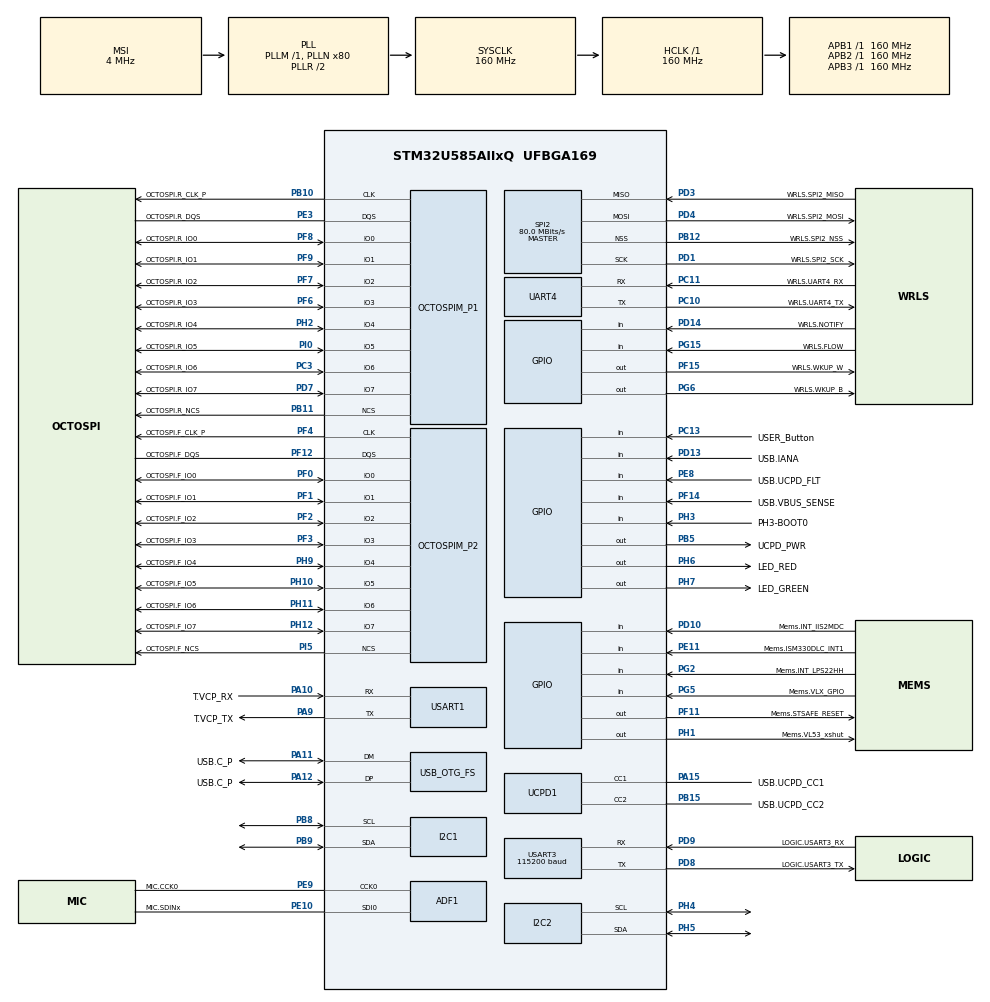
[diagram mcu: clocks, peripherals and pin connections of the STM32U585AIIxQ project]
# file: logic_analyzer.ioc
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CORTEX_M33_NS.userName=CORTEX_M33
I2C1.Timing=0x30909DEC
I2C2.Timing=0x30909DEC
Mcu.Family=STM32U5
Mcu.Name=STM32U585AIIxQ
Mcu.Package=UFBGA169
NVIC.PriorityGroup=NVIC_PRIORITYGROUP_4
OCTOSPI1.ChipSelectBoundary=10
OCTOSPI1.ClockPrescaler=2
OCTOSPI1.DelayBlockBypass=HAL_OSPI_DELAY_BLOCK_USED
OCTOSPI1.DelayHoldQuarterCycle=HAL_OSPI_DHQC_ENABLE
OCTOSPI1.DeviceSize=23
OCTOSPI1.MemoryType=HAL_OSPI_MEMTYPE_APMEMORY
OCTOSPI1.Refresh=100
OCTOSPI2.ChipSelectBoundary=0
OCTOSPI2.ChipSelectHighTime=2
OCTOSPI2.ClockPrescaler=4
OCTOSPI2.DelayBlockBypass=HAL_OSPI_DELAY_BLOCK_USED
OCTOSPI2.DelayHoldQuarterCycle=HAL_OSPI_DHQC_ENABLE
OCTOSPI2.DeviceSize=26
OCTOSPI2.FifoThreshold=4
OCTOSPI2.MemoryType=HAL_OSPI_MEMTYPE_MACRONIX
PA10.GPIO_Label=T.VCP_RX
PA10.Mode=Asynchronous
PA10.Signal=USART1_RX
PA11.GPIO_Label=USB.C_P
PA11.Mode=Device_Only
PA11.Signal=USB_OTG_FS_DM
PA12.GPIO_Label=USB.C_P
PA12.Mode=Device_Only
PA12.Signal=USB_OTG_FS_DP
PA13\ (JTMS/SWDIO).GPIO_Label=T.SWDIO
PA13\ (JTMS/SWDIO).Mode=Trace_Asynchronous_SW
PA13\ (JTMS/SWDIO).Signal=DEBUG_JTMS-SWDIO
PA14\ (JTCK/SWCLK).GPIO_Label=T.SWCLK
PA14\ (JTCK/SWCLK).Mode=Trace_Asynchronous_SW
PA14\ (JTCK/SWCLK).Signal=DEBUG_JTCK-SWCLK
PA15\ (JTDI).GPIO_Label=USB.UCPD_CC1
PA15\ (JTDI).Mode=Dual_Role_AllSignals
PA15\ (JTDI).Signal=UCPD1_CC1
PA9.GPIO_Label=T.VCP_TX
PA9.Mode=Asynchronous
PA9.Signal=USART1_TX
PB1.GPIO_Label=MIC.SDIN0
PB1.Signal=MDF1_SDI0
PB10.GPIO_Label=OCTOSPI.R_CLK_P
PB10.Mode=O1_P1_CLK
PB10.Signal=OCTOSPIM_P1_CLK
PB11.GPIO_Label=OCTOSPI.R_NCS
PB11.Mode=OCTOSPI1_Port1_NCS
PB11.Signal=OCTOSPIM_P1_NCS
PB12.GPIO_Label=WRLS.SPI2_NSS
PB12.Mode=NSS_Signal_Hard_Output
PB12.Signal=SPI2_NSS
PB15.GPIO_Label=USB.UCPD_CC2
PB15.Mode=Dual_Role_AllSignals
PB15.Signal=UCPD1_CC2
PB3\ (JTDO/TRACESWO).GPIO_Label=T.SWO
PB3\ (JTDO/TRACESWO).Mode=Trace_Asynchronous_SW
PB3\ (JTDO/TRACESWO).Signal=DEBUG_JTDO-SWO
PB5.GPIO_Label=UCPD_PWR
PB5.Signal=GPIO_Output
PB8.Mode=I2C
PB8.Signal=I2C1_SCL
PB9.Mode=I2C
PB9.Signal=I2C1_SDA
PC10.GPIO_Label=WRLS.UART4_TX
PC10.Mode=Asynchronous
PC10.Signal=UART4_TX
PC11.GPIO_Label=WRLS.UART4_RX
PC11.Mode=Asynchronous
PC11.Signal=UART4_RX
PD8.GPIO_Label=LOGIC.USART3_TX
PD8.Mode=Asynchronous
PD8.Signal=USART3_TX
PD9.GPIO_Label=LOGIC.USART3_RX
PD9.Mode=Asynchronous
PD9.Signal=USART3_RX
PC13.GPIO_Label=USER_Button
PC13.Signal=GPIO_Input
PC14-OSC32_IN\ (PC14).GPIO_Label=PC14-OSC32_IN
PC14-OSC32_IN\ (PC14).Mode=LSE-External-Oscillator
PC14-OSC32_IN\ (PC14).Signal=RCC_OSC32_IN
PC15-OSC32_OUT\ (PC15).GPIO_Label=PC15-OSC32_OUT
PC15-OSC32_OUT\ (PC15).Mode=LSE-External-Oscillator
PC15-OSC32_OUT\ (PC15).Signal=RCC_OSC32_OUT
PC3.GPIO_Label=OCTOSPI.R_IO6
PC3.Mode=OCTOSPI1_IOH_Port1H
PC3.Signal=OCTOSPIM_P1_IO6
PD1.GPIO_Label=WRLS.SPI2_SCK
PD1.Mode=Full_Duplex_Master
PD1.Signal=SPI2_SCK
PD10.GPIO_Label=Mems.INT_IIS2MDC
PD10.Signal=GPIO_Input
PD13.GPIO_Label=USB.IANA
PD13.Signal=GPIO_Input
PD14.GPIO_Label=WRLS.NOTIFY
PD14.Signal=GPIO_Input
PD3.GPIO_Label=WRLS.SPI2_MISO
PD3.Mode=Full_Duplex_Master
PD3.Signal=SPI2_MISO
PD4.GPIO_Label=WRLS.SPI2_MOSI
PD4.Mode=Full_Duplex_Master
PD4.Signal=SPI2_MOSI
PD7.GPIO_Label=OCTOSPI.R_IO7
PD7.Mode=OCTOSPI1_IOH_Port1H
PD7.Signal=OCTOSPIM_P1_IO7
PE10.GPIO_Label=MIC.SDINx
PE10.Mode=MOD_ADF_CCK
PE10.Signal=ADF1_SDI0
PE11.GPIO_Label=Mems.ISM330DLC_INT1
PE11.Signal=GPIO_Input
PE3.GPIO_Label=OCTOSPI.R_DQS
PE3.Mode=OCTOSPI1_Port1_DQS
PE3.Signal=OCTOSPIM_P1_DQS
PE8.GPIO_Label=USB.UCPD_FLT
PE8.Signal=GPIO_Input
PE9.GPIO_Label=MIC.CCK0
PE9.Mode=MOD_MDF_CCK0
PE9.Signal=ADF1_CCK0
PF0.GPIO_Label=OCTOSPI.F_IO0
PF0.Mode=OCTOSPI2_IOL_Port2L
PF0.Signal=OCTOSPIM_P2_IO0
PF1.GPIO_Label=OCTOSPI.F_IO1
PF1.Mode=OCTOSPI2_IOL_Port2L
PF1.Signal=OCTOSPIM_P2_IO1
PF10.GPIO_Label=MIC.CCK1
PF10.Signal=MDF1_CCK1
PF11.GPIO_Label=Mems.STSAFE_RESET
PF11.Signal=GPIO_Output
PF12.GPIO_Label=OCTOSPI.F_DQS
PF12.Mode=OCTOSPI2_Port2_DQS
PF12.Signal=OCTOSPIM_P2_DQS
PF14.GPIO_Label=USB.VBUS_SENSE
PF14.Signal=GPIO_Input
PF15.GPIO_Label=WRLS.WKUP_W
PF15.Signal=GPIO_Output
PF2.GPIO_Label=OCTOSPI.F_IO2
PF2.Mode=OCTOSPI2_IOL_Port2L
PF2.Signal=OCTOSPIM_P2_IO2
PF3.GPIO_Label=OCTOSPI.F_IO3
PF3.Mode=OCTOSPI2_IOL_Port2L
PF3.Signal=OCTOSPIM_P2_IO3
PF4.GPIO_Label=OCTOSPI.F_CLK_P
PF4.Mode=O2_P2_CLK
PF4.Signal=OCTOSPIM_P2_CLK
PF6.GPIO_Label=OCTOSPI.R_IO3
PF6.Mode=OCTOSPI1_IOL_Port1L
PF6.Signal=OCTOSPIM_P1_IO3
PF7.GPIO_Label=OCTOSPI.R_IO2
PF7.Mode=OCTOSPI1_IOL_Port1L
PF7.Signal=OCTOSPIM_P1_IO2
PF8.GPIO_Label=OCTOSPI.R_IO0
PF8.Mode=OCTOSPI1_IOL_Port1L
PF8.Signal=OCTOSPIM_P1_IO0
PF9.GPIO_Label=OCTOSPI.R_IO1
PF9.Mode=OCTOSPI1_IOL_Port1L
PF9.Signal=OCTOSPIM_P1_IO1
PG15.GPIO_Label=WRLS.FLOW
PG15.Signal=GPIO_Input
PG2.GPIO_Label=Mems.INT_LPS22HH
PG2.Signal=GPIO_Input
PG5.GPIO_Label=Mems.VLX_GPIO
PG5.Signal=GPIO_Input
PG6.GPIO_Label=WRLS.WKUP_B
PG6.Signal=GPIO_Output
PH1-OSC_OUT\ (PH1).GPIO_Label=Mems.VL53_xshut
PH1-OSC_OUT\ (PH1).Signal=GPIO_Output
PH10.GPIO_Label=OCTOSPI.F_IO5
PH10.Mode=OCTOSPI2_IOH_Port2H
PH10.Signal=OCTOSPIM_P2_IO5
PH11.GPIO_Label=OCTOSPI.F_IO6
PH11.Mode=OCTOSPI2_IOH_Port2H
PH11.Signal=OCTOSPIM_P2_IO6
PH12.GPIO_Label=OCTOSPI.F_IO7
PH12.Mode=OCTOSPI2_IOH_Port2H
PH12.Signal=OCTOSPIM_P2_IO7
PH2.GPIO_Label=OCTOSPI.R_IO4
PH2.Mode=OCTOSPI1_IOH_Port1H
PH2.Signal=OCTOSPIM_P1_IO4
PH3-BOOT0.GPIO_Label=PH3-BOOT0
PH3-BOOT0.Signal=GPIO_Input
PH4.Mode=I2C
PH4.Signal=I2C2_SCL
PH5.Mode=I2C
PH5.Signal=I2C2_SDA
PH6.GPIO_Label=LED_RED
PH6.Signal=GPIO_Output
PH7.GPIO_Label=LED_GREEN
PH7.Signal=GPIO_Output
PH9.GPIO_Label=OCTOSPI.F_IO4
PH9.Mode=OCTOSPI2_IOH_Port2H
PH9.Signal=OCTOSPIM_P2_IO4
PI0.GPIO_Label=OCTOSPI.R_IO5
PI0.Mode=OCTOSPI1_IOH_Port1H
PI0.Signal=OCTOSPIM_P1_IO5
PI5.GPIO_Label=OCTOSPI.F_NCS
PI5.Mode=OCTOSPI2_Port2_NCS
PI5.Signal=OCTOSPIM_P2_NCS
PWR.PowerMode=PWR_SMPS_SUPPLY
ProjectManager.HeapSize=0x200
ProjectManager.StackSize=0x400
ProjectManager.TargetToolchain=STM32CubeIDE
RCC.ADCFreq_Value=16000000
RCC.AHBFreq_Value=160000000
RCC.APB1Freq_Value=160000000
RCC.APB1TimFreq_Value=160000000
RCC.APB2Freq_Value=160000000
RCC.APB2TimFreq_Value=160000000
RCC.APB3Freq_Value=160000000
RCC.CortexFreq_Value=160000000
RCC.DACCLockSelectionVirtual=RCC_DAC1CLKSOURCE_LSI
RCC.EPOD_VALUE=4000000
RCC.HCLKFreq_Value=160000000
RCC.HSE_VALUE=16000000
RCC.HSI48_VALUE=48000000
RCC.HSI_VALUE=16000000
RCC.LSIDIV_VALUE=32000
RCC.MSI_VALUE=4000000
RCC.PLLN=80
RCC.SYSCLKFreq_VALUE=160000000
RCC.SYSCLKSource=RCC_SYSCLKSOURCE_PLLCLK
RCC.USBFreq_Value=48000000
RCC.VCOOutputFreq_Value=320000000
SPI2.CalculateBaudRate=80.0 MBits/s
SPI2.Direction=SPI_DIRECTION_2LINES
SPI2.Mode=SPI_MODE_MASTER
SPI2.VirtualNSS=VM_NSSHARD
SPI2.VirtualType=VM_MASTER
USART1.VirtualMode-Asynchronous=VM_ASYNC
USART3.BaudRate=115200
USART3.VirtualMode-Asynchronous=VM_ASYNC
USB_OTG_FS.VirtualMode=Device_Only
VP_ICACHE_VS_ICACHE.Mode=DirectMappedCache
VP_LPBAMQUEUE_VS_QUEUE.Mode=QUEUEMODE
VP_LPBAM_VS_SIG1.Mode=SmartRun
VP_LPBAM_VS_SIG4.Mode=LPDMA1
VP_MEMORYMAP_VS_MEMORYMAP.Mode=CurAppReg
VP_OCTOSPI1_VS_octo.Mode=octo_mode
VP_OCTOSPI2_VS_octo.Mode=octo_mode
VP_PWR_VS_DBSignals.Mode=DisableDeadBatterySignals
VP_PWR_VS_LPOM.Mode=PowerOptimisation
VP_PWR_VS_SECSignals.Mode=Security/Privilege
board=B-U585I-IOT02A

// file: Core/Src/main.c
/* USER CODE BEGIN Header */
/**
  ******************************************************************************
  * @file           : main.c
  * @brief          : Main program body
  ******************************************************************************
  * @attention
  *
  * Copyright (c) 2026 STMicroelectronics.
  * All rights reserved.
  *
  * This software is licensed under terms that can be found in the LICENSE file
  * in the root directory of this software component.
  * If no LICENSE file comes with this software, it is provided AS-IS.
  *
  ******************************************************************************
  */
/* USER CODE END Header */
#include "main.h"

MDF_HandleTypeDef AdfHandle0;
MDF_FilterConfigTypeDef AdfFilterConfig0;

I2C_HandleTypeDef hi2c1;
I2C_HandleTypeDef hi2c2;

OSPI_HandleTypeDef hospi1;
OSPI_HandleTypeDef hospi2;

SPI_HandleTypeDef hspi2;

UART_HandleTypeDef huart4;
UART_HandleTypeDef huart1;
UART_HandleTypeDef husart3;

PCD_HandleTypeDef hpcd_USB_OTG_FS;

/* USER CODE BEGIN PV */
/* USART3 Logic Analyzer Test - B-U585I-IOT02A */
#define TEST_PATTERN_INTERVAL  100U    /* ms between test patterns */

typedef enum {
    TEST_PATTERN_0x55 = 0,
    TEST_PATTERN_0xAA = 1,
    TEST_PATTERN_0xFF = 2,
    TEST_PATTERN_0x00 = 3,
    TEST_PATTERN_COUNTER = 4,
    TEST_PATTERN_ASCII = 5
} test_pattern_t;

static uint8_t rx_byte;
static test_pattern_t current_pattern = TEST_PATTERN_0x55;
static uint32_t last_pattern_tick = 0U;
static uint8_t test_counter = 0;
static char test_string[] = "LOGIC_ANALYZER_TEST\r\n";
static uint16_t test_string_idx = 0;
/* USER CODE END PV */

void SystemClock_Config(void);
static void SystemPower_Config(void);
static void MX_GPIO_Init(void);
static void MX_ADF1_Init(void);
static void MX_I2C1_Init(void);
static void MX_I2C2_Init(void);
static void MX_ICACHE_Init(void);
static void MX_OCTOSPI1_Init(void);
static void MX_OCTOSPI2_Init(void);
static void MX_SPI2_Init(void);
static void MX_UART4_Init(void);
static void MX_USART1_UART_Init(void);
static void MX_USART3_Init(void);
static void MX_UCPD1_Init(void);
static void MX_USB_OTG_FS_PCD_Init(void);
/* USER CODE BEGIN PFP */
static void Send_Test_Pattern_0x55(void);
static void Send_Test_Pattern_0xAA(void);
static void Send_Test_Pattern_0xFF(void);
static void Send_Test_Pattern_0x00(void);
static void Send_Test_Pattern_Counter(void);
static void Send_Test_Pattern_ASCII(void);
static void Send_Test_Pattern(test_pattern_t pattern);
/* USER CODE END PFP */

int main(void)
{

  /* MCU Configuration--------------------------------------------------------*/

  /* Reset of all peripherals, Initializes the Flash interface and the Systick. */
  HAL_Init();

  /* Configure the System Power */
  SystemPower_Config();

  /* Configure the system clock */
  SystemClock_Config();

  /* Initialize all configured peripherals */
  MX_GPIO_Init();
  MX_ADF1_Init();
  MX_I2C1_Init();
  MX_I2C2_Init();
  MX_ICACHE_Init();
  MX_OCTOSPI1_Init();
  MX_OCTOSPI2_Init();
  MX_SPI2_Init();
  MX_UART4_Init();
  MX_USART1_UART_Init();
  MX_USART3_Init();
  MX_UCPD1_Init();
  MX_USB_OTG_FS_PCD_Init();
  /* USER CODE BEGIN 2 */
  /* Send initial banner via USART3 */
  (void)HAL_UART_Transmit(&husart3, (uint8_t *)"Logic Analyzer USART3 Test\r\n", 26, HAL_MAX_DELAY);
  (void)HAL_UART_Transmit(&husart3, (uint8_t *)"B-U585I-IOT02A IoT Discovery\r\n", 31, HAL_MAX_DELAY);
  (void)HAL_UART_Transmit(&husart3, (uint8_t *)"USART3 PD8/TX PD9/RX 115200 8N1\r\n", 38, HAL_MAX_DELAY);
  (void)HAL_UART_Transmit(&husart3, (uint8_t *)"Patterns: 0x55, 0xAA, 0xFF, 0x00, CNT, ASCII\r\n", 50, HAL_MAX_DELAY);
  /* USER CODE END 2 */

  /* Infinite loop */
  while (1)
  {

    /* USER CODE BEGIN 3 */
    /* Poll for incoming USART3 RX byte (non-blocking) */
    if (HAL_UART_Receive(&husart3, &rx_byte, 1, 0) == HAL_OK)
    {
      /* Echo received byte */
      (void)HAL_UART_Transmit(&husart3, &rx_byte, 1, HAL_MAX_DELAY);

      /* Change pattern based on received command (keys '0'-'5') */
      if (rx_byte >= '0' && rx_byte <= '5')
      {
        current_pattern = (test_pattern_t)(rx_byte - '0');
      }
    }

    /* Send test pattern every TEST_PATTERN_INTERVAL ms */
    uint32_t now = HAL_GetTick();
    if ((now - last_pattern_tick) >= TEST_PATTERN_INTERVAL)
    {
      last_pattern_tick = now;
      Send_Test_Pattern(current_pattern);

      /* Cycle through patterns */
      current_pattern = (test_pattern_t)((current_pattern + 1) % 6);
    }
    /* USER CODE END 3 */
  }
  /* USER CODE END 3 */
}

static void MX_USART3_Init(void)
{

  /* USER CODE BEGIN USART3_Init 1 */
  /* Enable USART3 clock and GPIO clocks */
  __HAL_RCC_USART3_CLK_ENABLE();
  __HAL_RCC_GPIOD_CLK_ENABLE();
  /* USER CODE END USART3_Init 1 */
  husart3.Instance = USART3;
  husart3.Init.BaudRate = 115200;
  husart3.Init.WordLength = UART_WORDLENGTH_8B;
  husart3.Init.StopBits = UART_STOPBITS_1;
  husart3.Init.Parity = UART_PARITY_NONE;
  husart3.Init.Mode = UART_MODE_TX_RX;
  husart3.Init.HwFlowCtl = UART_HWCONTROL_NONE;
  husart3.Init.OverSampling = UART_OVERSAMPLING_16;
  husart3.Init.OneBitSampling = UART_ONE_BIT_SAMPLE_DISABLE;
  husart3.Init.ClockPrescaler = UART_PRESCALER_DIV1;
  husart3.AdvancedInit.AdvFeatureInit = UART_ADVFEATURE_NO_INIT;
  if (HAL_UART_Init(&husart3) != HAL_OK)
  {
    Error_Handler();
  }
}

void SystemClock_Config(void)
{
  RCC_OscInitTypeDef RCC_OscInitStruct = {0};
  RCC_ClkInitTypeDef RCC_ClkInitStruct = {0};

  /** Configure the main internal regulator output voltage
  */
  if (HAL_PWREx_ControlVoltageScaling(PWR_REGULATOR_VOLTAGE_SCALE1) != HAL_OK)
  {
    Error_Handler();
  }

  /** Initializes the CPU, AHB and APB buses clocks
  */
  RCC_OscInitStruct.OscillatorType = RCC_OSCILLATORTYPE_HSI48|RCC_OSCILLATORTYPE_HSI
                              |RCC_OSCILLATORTYPE_MSI;
  RCC_OscInitStruct.HSIState = RCC_HSI_ON;
  RCC_OscInitStruct.HSI48State = RCC_HSI48_ON;
  RCC_OscInitStruct.HSICalibrationValue = RCC_HSICALIBRATION_DEFAULT;
  RCC_OscInitStruct.MSIState = RCC_MSI_ON;
  RCC_OscInitStruct.MSICalibrationValue = RCC_MSICALIBRATION_DEFAULT;
  RCC_OscInitStruct.MSIClockRange = RCC_MSIRANGE_4;
  RCC_OscInitStruct.PLL.PLLState = RCC_PLL_ON;
  RCC_OscInitStruct.PLL.PLLSource = RCC_PLLSOURCE_MSI;
  RCC_OscInitStruct.PLL.PLLMBOOST = RCC_PLLMBOOST_DIV1;
  RCC_OscInitStruct.PLL.PLLM = 1;
  RCC_OscInitStruct.PLL.PLLN = 80;
  RCC_OscInitStruct.PLL.PLLP = 2;
  RCC_OscInitStruct.PLL.PLLQ = 2;
  RCC_OscInitStruct.PLL.PLLR = 2;
  RCC_OscInitStruct.PLL.PLLRGE = RCC_PLLVCIRANGE_0;
  RCC_OscInitStruct.PLL.PLLFRACN = 0;
  if (HAL_RCC_OscConfig(&RCC_OscInitStruct) != HAL_OK)
  {
    Error_Handler();
  }

  /** Initializes the CPU, AHB and APB buses clocks
  */
  RCC_ClkInitStruct.ClockType = RCC_CLOCKTYPE_HCLK|RCC_CLOCKTYPE_SYSCLK
                              |RCC_CLOCKTYPE_PCLK1|RCC_CLOCKTYPE_PCLK2
                              |RCC_CLOCKTYPE_PCLK3;
  RCC_ClkInitStruct.SYSCLKSource = RCC_SYSCLKSOURCE_PLLCLK;
  RCC_ClkInitStruct.AHBCLKDivider = RCC_SYSCLK_DIV1;
  RCC_ClkInitStruct.APB1CLKDivider = RCC_HCLK_DIV1;
  RCC_ClkInitStruct.APB2CLKDivider = RCC_HCLK_DIV1;
  RCC_ClkInitStruct.APB3CLKDivider = RCC_HCLK_DIV1;

  if (HAL_RCC_ClockConfig(&RCC_ClkInitStruct, FLASH_LATENCY_4) != HAL_OK)
  {
    Error_Handler();
  }
}

/**
  * @brief Power Configuration
  * @retval None
  */
static void SystemPower_Config(void)
{
  HAL_PWREx_EnableVddIO2();

  /*
   * Switch to SMPS regulator instead of LDO
   */
  if (HAL_PWREx_ConfigSupply(PWR_SMPS_SUPPLY) != HAL_OK)
  {
    Error_Handler();
  }
}

static void MX_ADF1_Init(void)
{

  /**
    AdfHandle0 structure initialization and HAL_MDF_Init function call
  */
  AdfHandle0.Instance = ADF1_Filter0;
  AdfHandle0.Init.CommonParam.ProcClockDivider = 1;
  AdfHandle0.Init.CommonParam.OutputClock.Activation = DISABLE;
  AdfHandle0.Init.SerialInterface.Activation = ENABLE;
  AdfHandle0.Init.SerialInterface.Mode = MDF_SITF_LF_MASTER_SPI_MODE;
  AdfHandle0.Init.SerialInterface.ClockSource = MDF_SITF_CCK0_SOURCE;
  AdfHandle0.Init.SerialInterface.Threshold = 4;
  AdfHandle0.Init.FilterBistream = MDF_BITSTREAM0_FALLING;
  if (HAL_MDF_Init(&AdfHandle0) != HAL_OK)
  {
    Error_Handler();
  }

  /**
    AdfFilterConfig0 structure initialization

    WARNING : only structure is filled, no specific init function call for filter
  */
  AdfFilterConfig0.DataSource = MDF_DATA_SOURCE_BSMX;
  AdfFilterConfig0.Delay = 0;
  AdfFilterConfig0.CicMode = MDF_ONE_FILTER_SINC4;
  AdfFilterConfig0.DecimationRatio = 2;
  AdfFilterConfig0.Gain = 0;
  AdfFilterConfig0.ReshapeFilter.Activation = DISABLE;
  AdfFilterConfig0.HighPassFilter.Activation = DISABLE;
  AdfFilterConfig0.SoundActivity.Activation = DISABLE;
  AdfFilterConfig0.AcquisitionMode = MDF_MODE_ASYNC_CONT;
  AdfFilterConfig0.FifoThreshold = MDF_FIFO_THRESHOLD_NOT_EMPTY;
  AdfFilterConfig0.DiscardSamples = 0;

}

static void MX_I2C1_Init(void)
{

  hi2c1.Instance = I2C1;
  hi2c1.Init.Timing = 0x30909DEC;
  hi2c1.Init.OwnAddress1 = 0;
  hi2c1.Init.AddressingMode = I2C_ADDRESSINGMODE_7BIT;
  hi2c1.Init.DualAddressMode = I2C_DUALADDRESS_DISABLE;
  hi2c1.Init.OwnAddress2 = 0;
  hi2c1.Init.OwnAddress2Masks = I2C_OA2_NOMASK;
  hi2c1.Init.GeneralCallMode = I2C_GENERALCALL_DISABLE;
  hi2c1.Init.NoStretchMode = I2C_NOSTRETCH_DISABLE;
  if (HAL_I2C_Init(&hi2c1) != HAL_OK)
  {
    Error_Handler();
  }

  /** Configure Analogue filter
  */
  if (HAL_I2CEx_ConfigAnalogFilter(&hi2c1, I2C_ANALOGFILTER_ENABLE) != HAL_OK)
  {
    Error_Handler();
  }

  /** Configure Digital filter
  */
  if (HAL_I2CEx_ConfigDigitalFilter(&hi2c1, 0) != HAL_OK)
  {
    Error_Handler();
  }

}

static void MX_I2C2_Init(void)
{

  hi2c2.Instance = I2C2;
  hi2c2.Init.Timing = 0x30909DEC;
  hi2c2.Init.OwnAddress1 = 0;
  hi2c2.Init.AddressingMode = I2C_ADDRESSINGMODE_7BIT;
  hi2c2.Init.DualAddressMode = I2C_DUALADDRESS_DISABLE;
  hi2c2.Init.OwnAddress2 = 0;
  hi2c2.Init.OwnAddress2Masks = I2C_OA2_NOMASK;
  hi2c2.Init.GeneralCallMode = I2C_GENERALCALL_DISABLE;
  hi2c2.Init.NoStretchMode = I2C_NOSTRETCH_DISABLE;
  if (HAL_I2C_Init(&hi2c2) != HAL_OK)
  {
    Error_Handler();
  }

  /** Configure Analogue filter
  */
  if (HAL_I2CEx_ConfigAnalogFilter(&hi2c2, I2C_ANALOGFILTER_ENABLE) != HAL_OK)
  {
    Error_Handler();
  }

  /** Configure Digital filter
  */
  if (HAL_I2CEx_ConfigDigitalFilter(&hi2c2, 0) != HAL_OK)
  {
    Error_Handler();
  }

}

static void MX_ICACHE_Init(void)
{

  /** Enable instruction cache in 1-way (direct mapped cache)
  */
  if (HAL_ICACHE_ConfigAssociativityMode(ICACHE_1WAY) != HAL_OK)
  {
    Error_Handler();
  }
  if (HAL_ICACHE_Enable() != HAL_OK)
  {
    Error_Handler();
  }

}

static void MX_OCTOSPI1_Init(void)
{

  OSPIM_CfgTypeDef sOspiManagerCfg = {0};
  HAL_OSPI_DLYB_CfgTypeDef HAL_OSPI_DLYB_Cfg_Struct = {0};

  /* OCTOSPI1 parameter configuration*/
  hospi1.Instance = OCTOSPI1;
  hospi1.Init.FifoThreshold = 1;
  hospi1.Init.DualQuad = HAL_OSPI_DUALQUAD_DISABLE;
  hospi1.Init.MemoryType = HAL_OSPI_MEMTYPE_APMEMORY;
  hospi1.Init.DeviceSize = 23;
  hospi1.Init.ChipSelectHighTime = 1;
  hospi1.Init.FreeRunningClock = HAL_OSPI_FREERUNCLK_DISABLE;
  hospi1.Init.ClockMode = HAL_OSPI_CLOCK_MODE_0;
  hospi1.Init.WrapSize = HAL_OSPI_WRAP_NOT_SUPPORTED;
  hospi1.Init.ClockPrescaler = 2;
  hospi1.Init.SampleShifting = HAL_OSPI_SAMPLE_SHIFTING_NONE;
  hospi1.Init.DelayHoldQuarterCycle = HAL_OSPI_DHQC_ENABLE;
  hospi1.Init.ChipSelectBoundary = 10;
  hospi1.Init.DelayBlockBypass = HAL_OSPI_DELAY_BLOCK_USED;
  hospi1.Init.MaxTran = 0;
  hospi1.Init.Refresh = 100;
  if (HAL_OSPI_Init(&hospi1) != HAL_OK)
  {
    Error_Handler();
  }
  sOspiManagerCfg.ClkPort = 1;
  sOspiManagerCfg.DQSPort = 1;
  sOspiManagerCfg.NCSPort = 1;
  sOspiManagerCfg.IOLowPort = HAL_OSPIM_IOPORT_1_LOW;
  sOspiManagerCfg.IOHighPort = HAL_OSPIM_IOPORT_1_HIGH;
  if (HAL_OSPIM_Config(&hospi1, &sOspiManagerCfg, HAL_OSPI_TIMEOUT_DEFAULT_VALUE) != HAL_OK)
  {
    Error_Handler();
  }
  HAL_OSPI_DLYB_Cfg_Struct.Units = 0;
  HAL_OSPI_DLYB_Cfg_Struct.PhaseSel = 0;
  if (HAL_OSPI_DLYB_SetConfig(&hospi1, &HAL_OSPI_DLYB_Cfg_Struct) != HAL_OK)
  {
    Error_Handler();
  }

}

static void MX_OCTOSPI2_Init(void)
{

  OSPIM_CfgTypeDef sOspiManagerCfg = {0};
  HAL_OSPI_DLYB_CfgTypeDef HAL_OSPI_DLYB_Cfg_Struct = {0};

  /* OCTOSPI2 parameter configuration*/
  hospi2.Instance = OCTOSPI2;
  hospi2.Init.FifoThreshold = 4;
  hospi2.Init.DualQuad = HAL_OSPI_DUALQUAD_DISABLE;
  hospi2.Init.MemoryType = HAL_OSPI_MEMTYPE_MACRONIX;
  hospi2.Init.DeviceSize = 26;
  hospi2.Init.ChipSelectHighTime = 2;
  hospi2.Init.FreeRunningClock = HAL_OSPI_FREERUNCLK_DISABLE;
  hospi2.Init.ClockMode = HAL_OSPI_CLOCK_MODE_0;
  hospi2.Init.WrapSize = HAL_OSPI_WRAP_NOT_SUPPORTED;
  hospi2.Init.ClockPrescaler = 4;
  hospi2.Init.SampleShifting = HAL_OSPI_SAMPLE_SHIFTING_NONE;
  hospi2.Init.DelayHoldQuarterCycle = HAL_OSPI_DHQC_ENABLE;
  hospi2.Init.ChipSelectBoundary = 0;
  hospi2.Init.DelayBlockBypass = HAL_OSPI_DELAY_BLOCK_USED;
  hospi2.Init.MaxTran = 0;
  hospi2.Init.Refresh = 0;
  if (HAL_OSPI_Init(&hospi2) != HAL_OK)
  {
    Error_Handler();
  }
  sOspiManagerCfg.ClkPort = 2;
  sOspiManagerCfg.DQSPort = 2;
  sOspiManagerCfg.NCSPort = 2;
  sOspiManagerCfg.IOLowPort = HAL_OSPIM_IOPORT_2_LOW;
  sOspiManagerCfg.IOHighPort = HAL_OSPIM_IOPORT_2_HIGH;
  if (HAL_OSPIM_Config(&hospi2, &sOspiManagerCfg, HAL_OSPI_TIMEOUT_DEFAULT_VALUE) != HAL_OK)
  {
    Error_Handler();
  }
  HAL_OSPI_DLYB_Cfg_Struct.Units = 0;
  HAL_OSPI_DLYB_Cfg_Struct.PhaseSel = 0;
  if (HAL_OSPI_DLYB_SetConfig(&hospi2, &HAL_OSPI_DLYB_Cfg_Struct) != HAL_OK)
  {
    Error_Handler();
  }

}

static void MX_SPI2_Init(void)
{

  SPI_AutonomousModeConfTypeDef HAL_SPI_AutonomousMode_Cfg_Struct = {0};

  /* SPI2 parameter configuration*/
  hspi2.Instance = SPI2;
  hspi2.Init.Mode = SPI_MODE_MASTER;
  hspi2.Init.Direction = SPI_DIRECTION_2LINES;
  hspi2.Init.DataSize = SPI_DATASIZE_4BIT;
  hspi2.Init.CLKPolarity = SPI_POLARITY_LOW;
  hspi2.Init.CLKPhase = SPI_PHASE_1EDGE;
  hspi2.Init.NSS = SPI_NSS_HARD_OUTPUT;
  hspi2.Init.BaudRatePrescaler = SPI_BAUDRATEPRESCALER_2;
  hspi2.Init.FirstBit = SPI_FIRSTBIT_MSB;
  hspi2.Init.TIMode = SPI_TIMODE_DISABLE;
  hspi2.Init.CRCCalculation = SPI_CRCCALCULATION_DISABLE;
  hspi2.Init.CRCPolynomial = 0x7;
  hspi2.Init.NSSPMode = SPI_NSS_PULSE_ENABLE;
  hspi2.Init.NSSPolarity = SPI_NSS_POLARITY_LOW;
  hspi2.Init.FifoThreshold = SPI_FIFO_THRESHOLD_01DATA;
  hspi2.Init.MasterSSIdleness = SPI_MASTER_SS_IDLENESS_00CYCLE;
  hspi2.Init.MasterInterDataIdleness = SPI_MASTER_INTERDATA_IDLENESS_00CYCLE;
  hspi2.Init.MasterReceiverAutoSusp = SPI_MASTER_RX_AUTOSUSP_DISABLE;
  hspi2.Init.MasterKeepIOState = SPI_MASTER_KEEP_IO_STATE_DISABLE;
  hspi2.Init.IOSwap = SPI_IO_SWAP_DISABLE;
  hspi2.Init.ReadyMasterManagement = SPI_RDY_MASTER_MANAGEMENT_INTERNALLY;
  hspi2.Init.ReadyPolarity = SPI_RDY_POLARITY_HIGH;
  if (HAL_SPI_Init(&hspi2) != HAL_OK)
  {
    Error_Handler();
  }
  HAL_SPI_AutonomousMode_Cfg_Struct.TriggerState = SPI_AUTO_MODE_DISABLE;
  HAL_SPI_AutonomousMode_Cfg_Struct.TriggerSelection = SPI_GRP1_GPDMA_CH0_TCF_TRG;
  HAL_SPI_AutonomousMode_Cfg_Struct.TriggerPolarity = SPI_TRIG_POLARITY_RISING;
  if (HAL_SPIEx_SetConfigAutonomousMode(&hspi2, &HAL_SPI_AutonomousMode_Cfg_Struct) != HAL_OK)
  {
    Error_Handler();
  }

}

static void MX_UART4_Init(void)
{

  huart4.Instance = UART4;
  huart4.Init.BaudRate = 115200;
  huart4.Init.WordLength = UART_WORDLENGTH_8B;
  huart4.Init.StopBits = UART_STOPBITS_1;
  huart4.Init.Parity = UART_PARITY_NONE;
  huart4.Init.Mode = UART_MODE_TX_RX;
  huart4.Init.HwFlowCtl = UART_HWCONTROL_NONE;
  huart4.Init.OverSampling = UART_OVERSAMPLING_16;
  huart4.Init.OneBitSampling = UART_ONE_BIT_SAMPLE_DISABLE;
  huart4.Init.ClockPrescaler = UART_PRESCALER_DIV1;
  huart4.AdvancedInit.AdvFeatureInit = UART_ADVFEATURE_NO_INIT;
  if (HAL_UART_Init(&huart4) != HAL_OK)
  {
    Error_Handler();
  }
  if (HAL_UARTEx_SetTxFifoThreshold(&huart4, UART_TXFIFO_THRESHOLD_1_8) != HAL_OK)
  {
    Error_Handler();
  }
  if (HAL_UARTEx_SetRxFifoThreshold(&huart4, UART_RXFIFO_THRESHOLD_1_8) != HAL_OK)
  {
    Error_Handler();
  }
  if (HAL_UARTEx_DisableFifoMode(&huart4) != HAL_OK)
  {
    Error_Handler();
  }

}

static void MX_USART1_UART_Init(void)
{

  huart1.Instance = USART1;
  huart1.Init.BaudRate = 115200;
  huart1.Init.WordLength = UART_WORDLENGTH_8B;
  huart1.Init.StopBits = UART_STOPBITS_1;
  huart1.Init.Parity = UART_PARITY_NONE;
  huart1.Init.Mode = UART_MODE_TX_RX;
  huart1.Init.HwFlowCtl = UART_HWCONTROL_NONE;
  huart1.Init.OverSampling = UART_OVERSAMPLING_16;
  huart1.Init.OneBitSampling = UART_ONE_BIT_SAMPLE_DISABLE;
  huart1.Init.ClockPrescaler = UART_PRESCALER_DIV1;
  huart1.AdvancedInit.AdvFeatureInit = UART_ADVFEATURE_NO_INIT;
  if (HAL_UART_Init(&huart1) != HAL_OK)
  {
    Error_Handler();
  }
  if (HAL_UARTEx_SetTxFifoThreshold(&huart1, UART_TXFIFO_THRESHOLD_1_8) != HAL_OK)
  {
    Error_Handler();
  }
  if (HAL_UARTEx_SetRxFifoThreshold(&huart1, UART_RXFIFO_THRESHOLD_1_8) != HAL_OK)
  {
    Error_Handler();
  }
  if (HAL_UARTEx_DisableFifoMode(&huart1) != HAL_OK)
  {
    Error_Handler();
  }

}

static void MX_UCPD1_Init(void)
{

  LL_GPIO_InitTypeDef GPIO_InitStruct = {0};

  /* Peripheral clock enable */
  LL_APB1_GRP2_EnableClock(LL_APB1_GRP2_PERIPH_UCPD1);

  LL_AHB2_GRP1_EnableClock(LL_AHB2_GRP1_PERIPH_GPIOA);
  LL_AHB2_GRP1_EnableClock(LL_AHB2_GRP1_PERIPH_GPIOB);
  /**UCPD1 GPIO Configuration
  PA15 (JTDI)   ------> UCPD1_CC1
  PB15   ------> UCPD1_CC2
  */
  GPIO_InitStruct.Pin = LL_GPIO_PIN_15;
  GPIO_InitStruct.Mode = LL_GPIO_MODE_ANALOG;
  GPIO_InitStruct.Pull = LL_GPIO_PULL_NO;
  LL_GPIO_Init(GPIOA, &GPIO_InitStruct);

  GPIO_InitStruct.Pin = LL_GPIO_PIN_15;
  GPIO_InitStruct.Mode = LL_GPIO_MODE_ANALOG;
  GPIO_InitStruct.Pull = LL_GPIO_PULL_NO;
  LL_GPIO_Init(GPIOB, &GPIO_InitStruct);

}

static void MX_USB_OTG_FS_PCD_Init(void)
{

  hpcd_USB_OTG_FS.Instance = USB_OTG_FS;
  hpcd_USB_OTG_FS.Init.dev_endpoints = 6;
  hpcd_USB_OTG_FS.Init.speed = PCD_SPEED_FULL;
  hpcd_USB_OTG_FS.Init.phy_itface = PCD_PHY_EMBEDDED;
  hpcd_USB_OTG_FS.Init.Sof_enable = DISABLE;
  hpcd_USB_OTG_FS.Init.low_power_enable = DISABLE;
  hpcd_USB_OTG_FS.Init.lpm_enable = DISABLE;
  hpcd_USB_OTG_FS.Init.battery_charging_enable = DISABLE;
  hpcd_USB_OTG_FS.Init.use_dedicated_ep1 = DISABLE;
  hpcd_USB_OTG_FS.Init.vbus_sensing_enable = DISABLE;
  hpcd_USB_OTG_FS.Init.dma_enable = DISABLE;
  if (HAL_PCD_Init(&hpcd_USB_OTG_FS) != HAL_OK)
  {
    Error_Handler();
  }

}

static void MX_GPIO_Init(void)
{
  GPIO_InitTypeDef GPIO_InitStruct = {0};

  /* GPIO Ports Clock Enable */
  __HAL_RCC_GPIOG_CLK_ENABLE();
  __HAL_RCC_GPIOC_CLK_ENABLE();
  __HAL_RCC_GPIOA_CLK_ENABLE();
  __HAL_RCC_GPIOI_CLK_ENABLE();
  __HAL_RCC_GPIOH_CLK_ENABLE();
  __HAL_RCC_GPIOB_CLK_ENABLE();
  __HAL_RCC_GPIOD_CLK_ENABLE();
  __HAL_RCC_GPIOE_CLK_ENABLE();
  __HAL_RCC_GPIOF_CLK_ENABLE();

  /*Configure GPIO pin Output Level */
  HAL_GPIO_WritePin(UCPD_PWR_GPIO_Port, UCPD_PWR_Pin, GPIO_PIN_RESET);

  /*Configure GPIO pin Output Level */
  HAL_GPIO_WritePin(GPIOH, LED_RED_Pin|LED_GREEN_Pin|Mems_VL53_xshut_Pin, GPIO_PIN_RESET);

  /*Configure GPIO pin Output Level */
  HAL_GPIO_WritePin(WRLS_WKUP_B_GPIO_Port, WRLS_WKUP_B_Pin, GPIO_PIN_RESET);

  /*Configure GPIO pin Output Level */
  HAL_GPIO_WritePin(GPIOF, Mems_STSAFE_RESET_Pin|WRLS_WKUP_W_Pin, GPIO_PIN_RESET);

  /*Configure GPIO pins : WRLS_FLOW_Pin Mems_VLX_GPIO_Pin Mems_INT_LPS22HH_Pin */
  GPIO_InitStruct.Pin = WRLS_FLOW_Pin|Mems_VLX_GPIO_Pin|Mems_INT_LPS22HH_Pin;
  GPIO_InitStruct.Mode = GPIO_MODE_INPUT;
  GPIO_InitStruct.Pull = GPIO_NOPULL;
  HAL_GPIO_Init(GPIOG, &GPIO_InitStruct);

  /*Configure GPIO pin : PH3_BOOT0_Pin */
  GPIO_InitStruct.Pin = PH3_BOOT0_Pin;
  GPIO_InitStruct.Mode = GPIO_MODE_INPUT;
  GPIO_InitStruct.Pull = GPIO_NOPULL;
  HAL_GPIO_Init(PH3_BOOT0_GPIO_Port, &GPIO_InitStruct);

  /*Configure GPIO pin : UCPD_PWR_Pin */
  GPIO_InitStruct.Pin = UCPD_PWR_Pin;
  GPIO_InitStruct.Mode = GPIO_MODE_OUTPUT_PP;
  GPIO_InitStruct.Pull = GPIO_NOPULL;
  GPIO_InitStruct.Speed = GPIO_SPEED_FREQ_LOW;
  HAL_GPIO_Init(UCPD_PWR_GPIO_Port, &GPIO_InitStruct);

  /*Configure GPIO pin : USER_Button_Pin */
  GPIO_InitStruct.Pin = USER_Button_Pin;
  GPIO_InitStruct.Mode = GPIO_MODE_INPUT;
  GPIO_InitStruct.Pull = GPIO_NOPULL;
  HAL_GPIO_Init(USER_Button_GPIO_Port, &GPIO_InitStruct);

  /*Configure GPIO pins : LED_RED_Pin LED_GREEN_Pin Mems_VL53_xshut_Pin */
  GPIO_InitStruct.Pin = LED_RED_Pin|LED_GREEN_Pin|Mems_VL53_xshut_Pin;
  GPIO_InitStruct.Mode = GPIO_MODE_OUTPUT_PP;
  GPIO_InitStruct.Pull = GPIO_NOPULL;
  GPIO_InitStruct.Speed = GPIO_SPEED_FREQ_LOW;
  HAL_GPIO_Init(GPIOH, &GPIO_InitStruct);

  /*Configure GPIO pin : MIC_CCK1_Pin */
  GPIO_InitStruct.Pin = MIC_CCK1_Pin;
  GPIO_InitStruct.Mode = GPIO_MODE_AF_PP;
  GPIO_InitStruct.Pull = GPIO_NOPULL;
  GPIO_InitStruct.Speed = GPIO_SPEED_FREQ_LOW;
  GPIO_InitStruct.Alternate = GPIO_AF6_MDF1;
  HAL_GPIO_Init(MIC_CCK1_GPIO_Port, &GPIO_InitStruct);

  /*Configure GPIO pin : WRLS_WKUP_B_Pin */
  GPIO_InitStruct.Pin = WRLS_WKUP_B_Pin;
  GPIO_InitStruct.Mode = GPIO_MODE_OUTPUT_PP;
  GPIO_InitStruct.Pull = GPIO_NOPULL;
  GPIO_InitStruct.Speed = GPIO_SPEED_FREQ_LOW;
  HAL_GPIO_Init(WRLS_WKUP_B_GPIO_Port, &GPIO_InitStruct);

  /*Configure GPIO pins : WRLS_NOTIFY_Pin Mems_INT_IIS2MDC_Pin USB_IANA_Pin */
  GPIO_InitStruct.Pin = WRLS_NOTIFY_Pin|Mems_INT_IIS2MDC_Pin|USB_IANA_Pin;
  GPIO_InitStruct.Mode = GPIO_MODE_INPUT;
  GPIO_InitStruct.Pull = GPIO_NOPULL;
  HAL_GPIO_Init(GPIOD, &GPIO_InitStruct);

  /*Configure GPIO pins : USB_UCPD_FLT_Pin Mems_ISM330DLC_INT1_Pin */
  GPIO_InitStruct.Pin = USB_UCPD_FLT_Pin|Mems_ISM330DLC_INT1_Pin;
  GPIO_InitStruct.Mode = GPIO_MODE_INPUT;
  GPIO_InitStruct.Pull = GPIO_NOPULL;
  HAL_GPIO_Init(GPIOE, &GPIO_InitStruct);

  /*Configure GPIO pin : USB_VBUS_SENSE_Pin */
  GPIO_InitStruct.Pin = USB_VBUS_SENSE_Pin;
  GPIO_InitStruct.Mode = GPIO_MODE_INPUT;
  GPIO_InitStruct.Pull = GPIO_NOPULL;
  HAL_GPIO_Init(USB_VBUS_SENSE_GPIO_Port, &GPIO_InitStruct);

  /*Configure GPIO pins : Mems_STSAFE_RESET_Pin WRLS_WKUP_W_Pin */
  GPIO_InitStruct.Pin = Mems_STSAFE_RESET_Pin|WRLS_WKUP_W_Pin;
  GPIO_InitStruct.Mode = GPIO_MODE_OUTPUT_PP;
  GPIO_InitStruct.Pull = GPIO_NOPULL;
  GPIO_InitStruct.Speed = GPIO_SPEED_FREQ_LOW;
  HAL_GPIO_Init(GPIOF, &GPIO_InitStruct);

  /*Configure GPIO pin : MIC_SDIN0_Pin */
  GPIO_InitStruct.Pin = MIC_SDIN0_Pin;
  GPIO_InitStruct.Mode = GPIO_MODE_AF_PP;
  GPIO_InitStruct.Pull = GPIO_NOPULL;
  GPIO_InitStruct.Speed = GPIO_SPEED_FREQ_LOW;
  GPIO_InitStruct.Alternate = GPIO_AF6_MDF1;
  HAL_GPIO_Init(MIC_SDIN0_GPIO_Port, &GPIO_InitStruct);

  /* USER CODE BEGIN MX_GPIO_Init_2 */
  /* USART3 GPIO Init: PD8=TX, PD9=RX, AF7 */
  GPIO_InitStruct.Pin = GPIO_PIN_8 | GPIO_PIN_9;
  GPIO_InitStruct.Mode = GPIO_MODE_AF_PP;
  GPIO_InitStruct.Pull = GPIO_PULLUP;
  GPIO_InitStruct.Speed = GPIO_SPEED_FREQ_LOW;
  GPIO_InitStruct.Alternate = GPIO_AF7_USART3;
  HAL_GPIO_Init(GPIOD, &GPIO_InitStruct);
  /* USER CODE END MX_GPIO_Init_2 */
}

/* USER CODE BEGIN 4 */
/**
  * @brief Send specific test pattern over USART3
  */
static void Send_Test_Pattern(test_pattern_t pattern)
{
  switch (pattern)
  {
    case TEST_PATTERN_0x55: Send_Test_Pattern_0x55(); break;
    case TEST_PATTERN_0xAA: Send_Test_Pattern_0xAA(); break;
    case TEST_PATTERN_0xFF: Send_Test_Pattern_0xFF(); break;
    case TEST_PATTERN_0x00: Send_Test_Pattern_0x00(); break;
    case TEST_PATTERN_COUNTER: Send_Test_Pattern_Counter(); break;
    case TEST_PATTERN_ASCII: Send_Test_Pattern_ASCII(); break;
    default: break;
  }
}

static void Send_Test_Pattern_0x55(void)
{
  uint8_t data = 0x55;
  (void)HAL_UART_Transmit(&husart3, (uint8_t *)"[0x55] ", 7, HAL_MAX_DELAY);
  (void)HAL_UART_Transmit(&husart3, &data, 1, HAL_MAX_DELAY);
  (void)HAL_UART_Transmit(&husart3, (uint8_t *)"\r\n", 2, HAL_MAX_DELAY);
}

static void Send_Test_Pattern_0xAA(void)
{
  uint8_t data = 0xAA;
  (void)HAL_UART_Transmit(&husart3, (uint8_t *)"[0xAA] ", 7, HAL_MAX_DELAY);
  (void)HAL_UART_Transmit(&husart3, &data, 1, HAL_MAX_DELAY);
  (void)HAL_UART_Transmit(&husart3, (uint8_t *)"\r\n", 2, HAL_MAX_DELAY);
}

static void Send_Test_Pattern_0xFF(void)
{
  uint8_t data = 0xFF;
  (void)HAL_UART_Transmit(&husart3, (uint8_t *)"[0xFF] ", 7, HAL_MAX_DELAY);
  (void)HAL_UART_Transmit(&husart3, &data, 1, HAL_MAX_DELAY);
  (void)HAL_UART_Transmit(&husart3, (uint8_t *)"\r\n", 2, HAL_MAX_DELAY);
}

static void Send_Test_Pattern_0x00(void)
{
  uint8_t data = 0x00;
  (void)HAL_UART_Transmit(&husart3, (uint8_t *)"[0x00] ", 7, HAL_MAX_DELAY);
  (void)HAL_UART_Transmit(&husart3, &data, 1, HAL_MAX_DELAY);
  (void)HAL_UART_Transmit(&husart3, (uint8_t *)"\r\n", 2, HAL_MAX_DELAY);
}

static void Send_Test_Pattern_Counter(void)
{
  char hex_str[3];
  uint8_t hi = (test_counter >> 4) & 0x0F;
  uint8_t lo = test_counter & 0x0F;
  hex_str[0] = (hi < 10) ? ('0' + hi) : ('A' + hi - 10);
  hex_str[1] = (lo < 10) ? ('0' + lo) : ('A' + lo - 10);
  hex_str[2] = '\0';
  (void)HAL_UART_Transmit(&husart3, (uint8_t *)"[CNT] ", 6, HAL_MAX_DELAY);
  (void)HAL_UART_Transmit(&husart3, (uint8_t *)hex_str, 2, HAL_MAX_DELAY);
  (void)HAL_UART_Transmit(&husart3, (uint8_t *)"\r\n", 2, HAL_MAX_DELAY);
  test_counter++;
}

static void Send_Test_Pattern_ASCII(void)
{
  uint8_t c = (uint8_t)test_string[test_string_idx];
  (void)HAL_UART_Transmit(&husart3, (uint8_t *)"[ASCII] ", 8, HAL_MAX_DELAY);
  (void)HAL_UART_Transmit(&husart3, &c, 1, HAL_MAX_DELAY);
  test_string_idx++;
  if (test_string_idx >= sizeof(test_string))
  {
    test_string_idx = 0;
  }
}
/* USER CODE END 4 */

void Error_Handler(void)
{
  __disable_irq();
  while (1)
  {
  }
}
